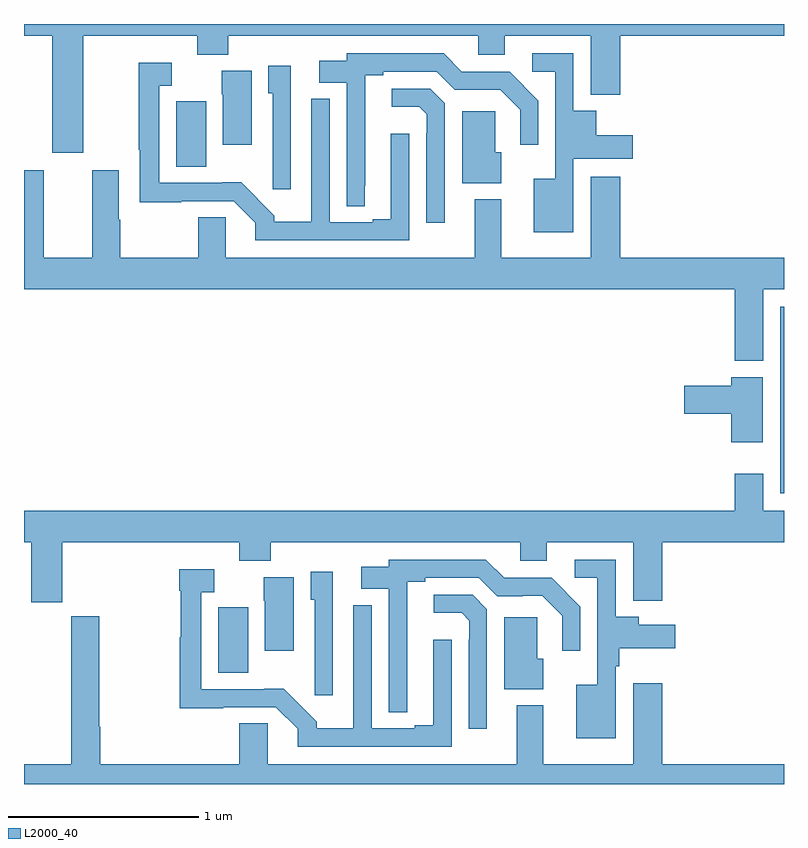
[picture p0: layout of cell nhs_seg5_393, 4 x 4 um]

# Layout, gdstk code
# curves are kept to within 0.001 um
import gdstk
lib = gdstk.Library(unit=1e-6, precision=1e-09)
def R(c, l, rs):  # rectangles x0, y0, x1, y1
    for r in rs: c.add(gdstk.rectangle(r[:2], r[2:], *l))
def P(c, l, *ps):  # polygons
    for p in ps: c.add(gdstk.Polygon(p, *l))
L2000_40 = (2000, 40)

nhs_seg5_393 = lib.new_cell('nhs_seg5_393')
R(nhs_seg5_393, L2000_40, [(136.022,877.384,136.18,877.729), (138.981,878.328,139,879.312), (135.8,880.048,135.958,880.393)])
P(nhs_seg5_393, L2000_40, [(135.313,880.736),(135.911,880.736),(135.911,880.637),(136.076,880.637),(136.076,880.736),(137.39,880.736),(137.39,880.637),(137.53,880.637),(137.53,880.736),(137.984,880.736),(137.984,880.427),(138.137,880.427),(138.137,880.736),(139,880.736),(139,880.799),(135,880.799),(135,880.736),(135.149,880.736),(135.149,880.122),(135.313,880.122)],
  [(137.892,880.091),(138.205,880.091),(138.205,880.213),(138.013,880.213),(138.013,880.342),(137.892,880.342),(137.892,880.644),(137.676,880.644),(137.676,880.548),(137.796,880.548),(137.796,879.985),(137.684,879.985),(137.684,879.704),(137.892,879.704)],
  [(136.794,879.949),(136.795,880.528),(136.891,880.528),(136.891,880.548),(137.172,880.548),(137.268,880.452),(137.404,880.452),(137.404,880.454),(137.506,880.454),(137.612,880.349),(137.612,880.164),(137.706,880.164),(137.706,880.396),(137.556,880.548),(137.305,880.548),(137.209,880.644),(136.698,880.644),(136.698,880.606),(136.554,880.606),(136.554,880.49),(136.698,880.49),(136.698,879.841),(136.794,879.841)],
  [(137.028,880.222),(136.931,880.222),(136.931,879.771),(136.835,879.771),(136.835,879.756),(136.608,879.756),(136.608,880.405),(136.512,880.405),(136.512,879.757),(136.318,879.757),(136.318,879.791),(136.144,879.965),(136.043,879.965),(136.043,879.963),(135.711,879.963),(135.711,880.473),(135.778,880.473),(135.778,880.594),(135.603,880.594),(135.603,880.136),(135.608,880.136),(135.608,879.862),(135.827,879.862),(135.827,879.867),(136.104,879.867),(136.218,879.754),(136.218,879.66),(137.028,879.66)],
  [(136.404,880.579),(136.286,880.579),(136.286,880.434),(136.308,880.434),(136.308,879.93),(136.404,879.93)],
  [(136.198,880.552),(136.04,880.552),(136.04,880.428),(136.046,880.428),(136.046,880.164),(136.198,880.164)],
  [(137.214,880.383),(137.139,880.458),(136.935,880.458),(136.935,880.364),(137.081,880.364),(137.121,880.323),(137.121,880.223),(137.118,880.223),(137.118,879.753),(137.214,879.753)],
  [(137.512,880.123),(137.479,880.123),(137.479,880.341),(137.306,880.341),(137.306,879.962),(137.512,879.962)],
  [(138.892,879.404),(139,879.404),(139,879.568),(138.137,879.568),(138.137,879.994),(137.984,879.994),(137.984,879.568),(137.512,879.568),(137.512,879.877),(137.372,879.877),(137.372,879.568),(136.062,879.568),(136.062,879.782),(135.916,879.782),(135.916,879.568),(135.507,879.568),(135.507,879.77),(135.499,879.77),(135.499,880.03),(135.359,880.03),(135.359,879.568),(135.103,879.568),(135.103,880.03),(135,880.03),(135,879.404),(138.74,879.404),(138.74,879.026),(138.892,879.026)],
  [(138.889,878.941),(138.722,878.941),(138.722,878.894),(138.474,878.894),(138.474,878.747),(138.722,878.747),(138.722,878.598),(138.889,878.598)],
  [(135.202,878.072),(136.133,878.072),(136.133,877.973),(136.298,877.973),(136.298,878.072),(137.612,878.072),(137.612,877.973),(137.752,877.973),(137.752,878.072),(138.206,878.072),(138.206,877.763),(138.359,877.763),(138.359,878.072),(139,878.072),(139,878.236),(138.892,878.236),(138.892,878.431),(138.74,878.431),(138.74,878.236),(135,878.236),(135,878.072),(135.038,878.072),(135.038,877.755),(135.202,877.755)],
  [(138.114,877.418),(138.134,877.418),(138.134,877.514),(138.427,877.514),(138.427,877.636),(138.235,877.636),(138.235,877.678),(138.114,877.678),(138.114,877.98),(137.898,877.98),(137.898,877.884),(138.018,877.884),(138.018,877.321),(137.906,877.321),(137.906,877.04),(138.114,877.04)],
  [(137.016,877.285),(137.017,877.864),(137.113,877.864),(137.113,877.884),(137.394,877.884),(137.49,877.788),(137.626,877.788),(137.626,877.79),(137.728,877.79),(137.834,877.685),(137.834,877.5),(137.928,877.5),(137.928,877.732),(137.778,877.884),(137.527,877.884),(137.431,877.98),(136.92,877.98),(136.92,877.942),(136.776,877.942),(136.776,877.826),(136.92,877.826),(136.92,877.177),(137.016,877.177)],
  [(137.25,877.558),(137.153,877.558),(137.153,877.107),(137.057,877.107),(137.057,877.092),(136.83,877.092),(136.83,877.741),(136.734,877.741),(136.734,877.093),(136.54,877.093),(136.54,877.127),(136.366,877.301),(136.265,877.301),(136.265,877.299),(135.933,877.299),(135.933,877.809),(136,877.809),(136,877.93),(135.817,877.93),(135.817,877.817),(135.825,877.817),(135.825,877.572),(135.82,877.572),(135.82,877.198),(136.049,877.198),(136.049,877.203),(136.326,877.203),(136.44,877.09),(136.44,876.996),(137.25,876.996)],
  [(136.626,877.915),(136.508,877.915),(136.508,877.77),(136.53,877.77),(136.53,877.266),(136.626,877.266)],
  [(136.42,877.888),(136.262,877.888),(136.262,877.764),(136.268,877.764),(136.268,877.5),(136.42,877.5)],
  [(137.436,877.719),(137.361,877.794),(137.157,877.794),(137.157,877.7),(137.303,877.7),(137.343,877.659),(137.343,877.559),(137.34,877.559),(137.34,877.089),(137.436,877.089)],
  [(136.284,877.118),(136.133,877.118),(136.133,876.904),(135.401,876.904),(135.401,877.1),(135.396,877.1),(135.396,877.683),(135.248,877.683),(135.248,876.904),(135,876.904),(135,876.799),(139,876.799),(139,876.904),(138.359,876.904),(138.359,877.33),(138.206,877.33),(138.206,876.904),(137.734,876.904),(137.734,877.213),(137.594,877.213),(137.594,876.904),(136.284,876.904)],
  [(137.734,877.459),(137.701,877.459),(137.701,877.677),(137.528,877.677),(137.528,877.298),(137.734,877.298)])

lib.write_gds('nhs_seg5_393.gds')
